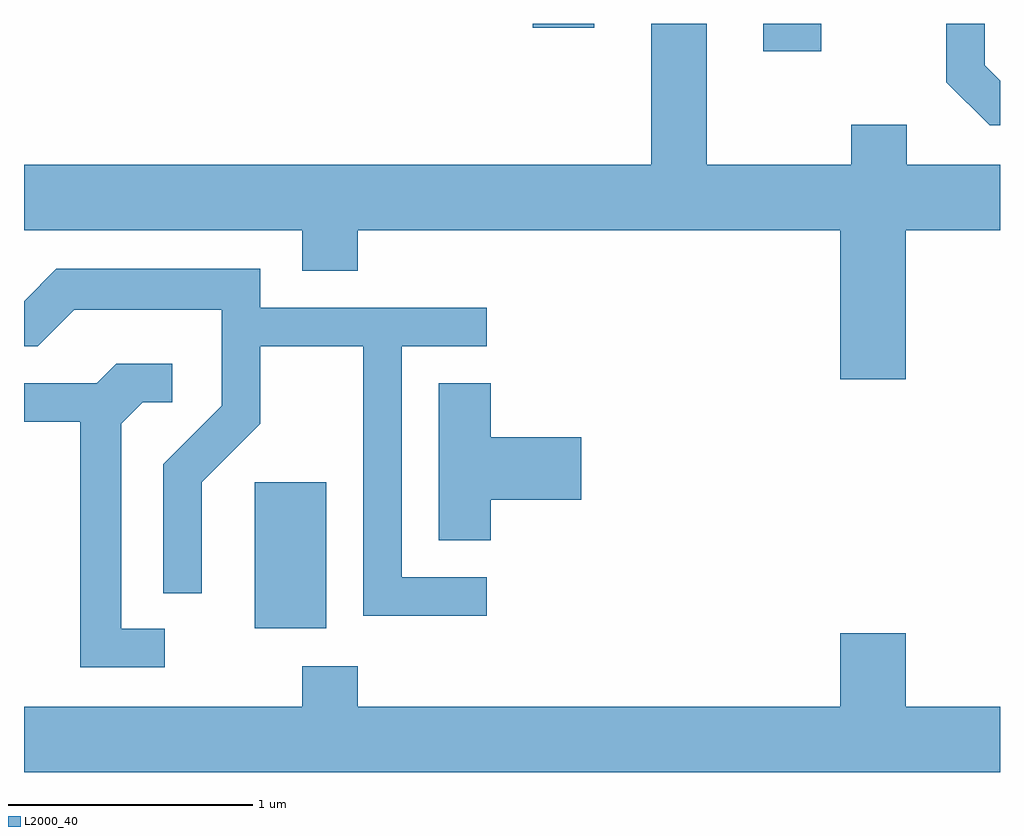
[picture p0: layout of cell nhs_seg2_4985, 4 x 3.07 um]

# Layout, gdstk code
import gdstk
lib = gdstk.Library(unit=1e-6, precision=1e-09)
def R(c, l, rs):  # rectangles x0, y0, x1, y1
    for r in rs: c.add(gdstk.rectangle(r[:2], r[2:], *l))
def P(c, l, *ps):  # polygons
    for p in ps: c.add(gdstk.Polygon(p, *l))
L2000_40 = (2000, 40)

nhs_seg2_4985 = lib.new_cell('nhs_seg2_4985')
R(nhs_seg2_4985, L2000_40, [(332.556,1073.326,332.849,1073.924), (334.641,1075.691,334.878,1075.802), (333.696,1075.786,333.949,1075.802)])
P(nhs_seg2_4985, L2000_40, [(335.224,1074.956),(335.611,1074.956),(335.611,1075.224),(335.229,1075.224),(335.229,1075.389),(335.001,1075.389),(335.001,1075.224),(334.409,1075.224),(334.409,1075.802),(334.181,1075.802),(334.181,1075.224),(331.611,1075.224),(331.611,1074.956),(332.751,1074.956),(332.751,1074.791),(332.979,1074.791),(332.979,1074.956),(334.956,1074.956),(334.956,1074.346),(335.224,1074.346)],
  [(335.611,1075.57),(335.549,1075.632),(335.549,1075.802),(335.391,1075.802),(335.391,1075.564),(335.569,1075.386),(335.611,1075.386)],
  [(333.508,1073.534),(333.159,1073.534),(333.159,1074.481),(333.508,1074.481),(333.508,1074.639),(332.579,1074.639),(332.579,1074.799),(331.744,1074.799),(331.611,1074.666),(331.611,1074.481),(331.667,1074.481),(331.817,1074.631),(332.421,1074.631),(332.421,1074.237),(332.181,1073.997),(332.181,1073.468),(332.339,1073.468),(332.339,1073.924),(332.579,1074.164),(332.579,1074.481),(333.001,1074.481),(333.001,1073.376),(333.508,1073.376)],
  [(332.188,1073.324),(332.009,1073.324),(332.009,1074.164),(332.097,1074.251),(332.218,1074.251),(332.218,1074.409),(331.989,1074.409),(331.909,1074.329),(331.611,1074.329),(331.611,1074.171),(331.841,1074.171),(331.841,1073.166),(332.188,1073.166)],
  [(333.524,1073.851),(333.894,1073.851),(333.894,1074.109),(333.524,1074.109),(333.524,1074.329),(333.311,1074.329),(333.311,1073.686),(333.524,1073.686)],
  [(335.611,1073.004),(335.224,1073.004),(335.224,1073.304),(334.956,1073.304),(334.956,1073.004),(332.979,1073.004),(332.979,1073.169),(332.751,1073.169),(332.751,1073.004),(331.611,1073.004),(331.611,1072.736),(335.611,1072.736)])

lib.write_gds('nhs_seg2_4985.gds')
